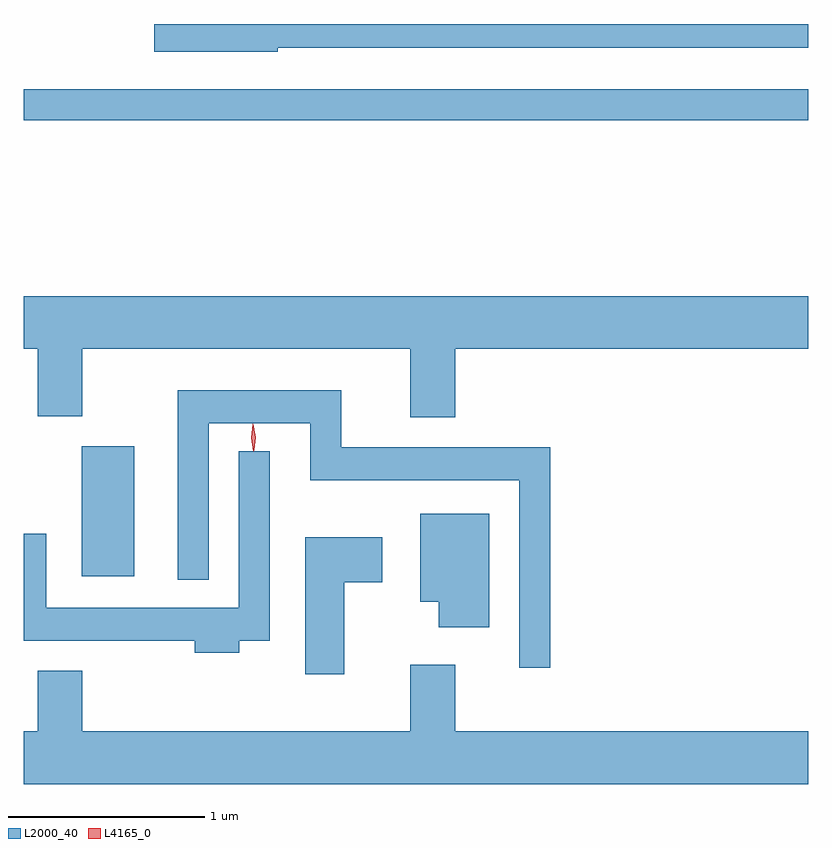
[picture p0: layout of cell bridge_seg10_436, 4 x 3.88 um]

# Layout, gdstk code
import gdstk
lib = gdstk.Library(unit=1e-6, precision=1e-09)
def R(c, l, rs):  # rectangles x0, y0, x1, y1
    for r in rs: c.add(gdstk.rectangle(r[:2], r[2:], *l))
def P(c, l, *ps):  # polygons
    for p in ps: c.add(gdstk.Polygon(p, *l))
L2000_40 = (2000, 40)
L4165_0 = (4165, 0)

bridge_seg10_436 = lib.new_cell('bridge_seg10_436')
R(bridge_seg10_436, L2000_40, [(1443.666,2121.636,1443.934,2122.299), (1443.37,2123.961,1447.37,2124.119)])
P(bridge_seg10_436, L2000_40, [(1444.664,2124.331),(1447.37,2124.331),(1447.37,2124.452),(1444.036,2124.452),(1444.036,2124.311),(1444.664,2124.311)],
  [(1445.569,2122.796),(1447.37,2122.796),(1447.37,2123.064),(1443.37,2123.064),(1443.37,2122.796),(1443.441,2122.796),(1443.441,2122.451),(1443.669,2122.451),(1443.669,2122.796),(1445.341,2122.796),(1445.341,2122.446),(1445.569,2122.446)],
  [(1446.054,2122.294),(1444.989,2122.294),(1444.989,2122.584),(1444.156,2122.584),(1444.156,2121.618),(1444.314,2121.618),(1444.314,2122.416),(1444.831,2122.416),(1444.831,2122.126),(1445.896,2122.126),(1445.896,2121.168),(1446.054,2121.168)],
  [(1444.469,2121.306),(1444.624,2121.306),(1444.624,2122.273),(1444.466,2122.273),(1444.466,2121.474),(1443.484,2121.474),(1443.484,2121.853),(1443.37,2121.853),(1443.37,2121.306),(1444.241,2121.306),(1444.241,2121.246),(1444.469,2121.246)],
  [(1445.744,2121.954),(1445.391,2121.954),(1445.391,2121.506),(1445.486,2121.506),(1445.486,2121.376),(1445.744,2121.376)],
  [(1445.004,2121.606),(1445.199,2121.606),(1445.199,2121.834),(1444.806,2121.834),(1444.806,2121.136),(1445.004,2121.136)],
  [(1447.37,2120.844),(1445.569,2120.844),(1445.569,2121.184),(1445.341,2121.184),(1445.341,2120.844),(1443.669,2120.844),(1443.669,2121.154),(1443.441,2121.154),(1443.441,2120.844),(1443.37,2120.844),(1443.37,2120.576),(1447.37,2120.576)])
P(bridge_seg10_436, L4165_0, [(1444.541,2122.274),(1444.541,2122.274),(1444.53,2122.343),(1444.538,2122.412),(1444.538,2122.413),(1444.539,2122.412),(1444.55,2122.343),(1444.542,2122.274)],
  [(1444.544,2122.277),(1444.543,2122.278),(1444.532,2122.343),(1444.54,2122.41),(1444.541,2122.41),(1444.541,2122.41),(1444.552,2122.344),(1444.544,2122.278)])

lib.write_gds('bridge_seg10_436.gds')
